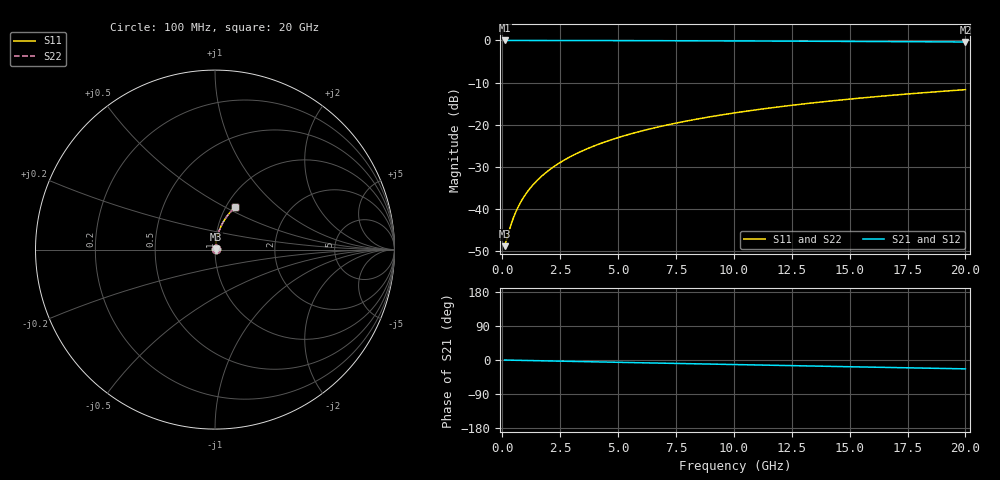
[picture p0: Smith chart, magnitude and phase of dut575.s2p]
! Touchstone file exported from HFSS 2026.1.0
!  File:  C:/ffzhzh/LocalFiles/Ansys_Project_Files/temp_train_TMRDL_575_1783008142_4048.aedt
!  Generated:  12:03:48 AM Jul  3, 2026
!  Design:  TMRDL
!  Project:  temp_train_TMRDL_575_1783008142_4048
! Variables:
!  h_bsmrdl = 2um
!  h_ox = 20um
!  h_rdl = 5um
!  h_sub = 80um
!  h_tmrdl = 3um
!  h_tsv = 80um
!  h_via = 3um
!  l_bsmrdl = 300um
!  l_sub = 700.19um
!  l_tmrdl = 300.19um
!  m_sub = 200um
!  pitch = 32.77um
!  r_tsv = 6um
!  s_tmrdl = 10um
!  w_bsmrdl = 18um
!  w_sub = 500um
!  w_tmrdl = 11.12um
!  x_tsv_center1 = 305.75um
!  x_tsv_center2 = 623.75um
!  x_tsv_center3 = 935.06um
!  x_tsv_center4 = 1253.06um
!  x_tsv_center5 = 1564.37um
!  x_tsv_center6 = 1882.37um
# GHz S MA R 50.000000
! Terminal data exported
! Port[1] = TM_RDL1_1_T1
! Port[2] = TM_RDL1_1_T2
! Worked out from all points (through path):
!   200 points, 100 MHz to 20 GHz, reference 50 ohm
!   highest |S21| = -0.03 dB at 100 MHz (marker M1); lowest = -0.4 dB at 20 GHz (marker M2)
!   group delay of S21, straight-line fit = 3.25 ps
!   lowest |S11| = -48.8 dB at 100 MHz (marker M3), VSWR 1.01, Z = 50.3 + j0.15 ohm
!   |S11| at or under -10 dB: start of sweep to end of sweep
!   |S22| runs from -48.8 to -11.7 dB; largest |S21 - S12| = 3e-15
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0.1  0.003643 24.1  0.9967 -0.1  0.9967 -0.1  0.003643 24.1
! Gamma 0 0 0 0
! Port Impedance 50 0 50 0
0.4  0.006854 59.3  0.9965 -0.5  0.9965 -0.5  0.006854 59.3
0.5  0.008159 63.9  0.9965 -0.6  0.9965 -0.6  0.008159 63.9
0.6  0.009492 67.2  0.9964 -0.8  0.9964 -0.8  0.009492 67.2
0.7  0.01084 69.6  0.9963 -0.9  0.9963 -0.9  0.01084 69.6
0.9  0.01356 73.0  0.9962 -1.1  0.9962 -1.1  0.01356 73.0
1.2  0.01767 76.1  0.996 -1.5  0.996 -1.5  0.01767 76.1
1.4  0.02043 77.4  0.9959 -1.7  0.9959 -1.7  0.02043 77.4
1.7  0.02458 78.7  0.9958 -2.1  0.9958 -2.1  0.02458 78.7
2.2  0.03152 79.9  0.9955 -2.7  0.9955 -2.7  0.03152 79.9
2.8  0.03988 80.6  0.9951 -3.4  0.9951 -3.4  0.03988 80.6
3.5  0.04962 80.7  0.9945 -4.3  0.9945 -4.3  0.04962 80.7
4.2  0.05935 80.5  0.9937 -5.1  0.9937 -5.1  0.05935 80.5
5  0.07041 80.1  0.9928 -6.1  0.9928 -6.1  0.07041 80.1
5.9  0.08278 79.4  0.9916 -7.2  0.9916 -7.2  0.08278 79.4
6.8  0.09505 78.6  0.9902 -8.2  0.9902 -8.2  0.09505 78.6
8.3  0.1153 77.1  0.9875 -10.0  0.9875 -10.0  0.1153 77.1
10.1  0.1391 75.2  0.9838 -12.1  0.9838 -12.1  0.1391 75.2
11.7  0.1598 73.4  0.9801 -14.0  0.9801 -14.0  0.1598 73.5
13.4  0.1814 71.6  0.9758 -16.0  0.9758 -16.0  0.1814 71.6
16.7  0.2219 68.0  0.9664 -19.7  0.9664 -19.7  0.2219 68.0
20  0.2605 64.5  0.956 -23.4  0.956 -23.4  0.2605 64.5
